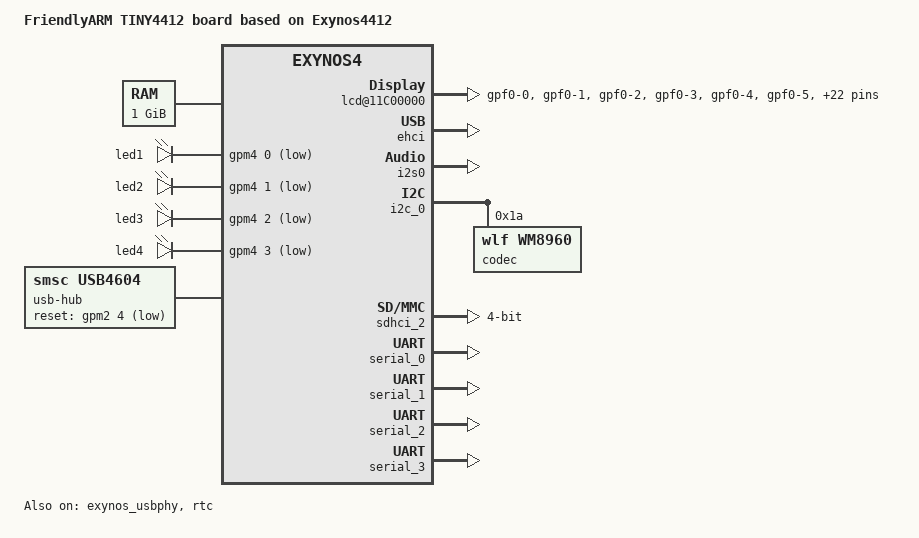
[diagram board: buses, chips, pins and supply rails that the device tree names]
/*
 * FriendlyARM's Exynos4412 based TINY4412 board device tree source
 *
 * Copyright (c) 2013 Alex Ling <kasimling@gmail.com>
 *
 * Device tree source file for FriendlyARM's TINY4412 board which is based on
 * Samsung's Exynos4412 SoC.
 *
 * This program is free software; you can redistribute it and/or modify
 * it under the terms of the GNU General Public License version 2 as
 * published by the Free Software Foundation.
*/

/dts-v1/;
#include "exynos4412.dtsi"
#include <dt-bindings/sound/samsung-i2s.h>
#include <dt-bindings/gpio/gpio.h>

/ {
	model = "FriendlyARM TINY4412 board based on Exynos4412";
	compatible = "friendlyarm,tiny4412", "samsung,exynos4412", "samsung,exynos4";

	chosen {
		stdout-path = &serial_0;
	};

	memory@40000000 {
		device_type = "memory";
		reg = <0x40000000 0x40000000>;
	};

	leds {
		compatible = "gpio-leds";

		led1 {
			label = "led1";
			gpios = <&gpm4 0 GPIO_ACTIVE_LOW>;
			default-state = "off";
			linux,default-trigger = "heartbeat";
		};

		led2 {
			label = "led2";
			gpios = <&gpm4 1 GPIO_ACTIVE_LOW>;
			default-state = "off";
		};

		led3 {
			label = "led3";
			gpios = <&gpm4 2 GPIO_ACTIVE_LOW>;
			default-state = "off";
		};

		led4 {
			label = "led4";
			gpios = <&gpm4 3 GPIO_ACTIVE_LOW>;
			default-state = "off";
			linux,default-trigger = "mmc0";
		};
	};

	lcd@11C00000 {
		compatible = "tiny4412,lcd";
		reg = <0x11C00000  0x20c0 0x10010210 0x08 0x10023c80 0x04 0x1003c000 0x1000>;
		pinctrl-names = "default";
		pinctrl-0 = <&lcd>;
		clocks = <&clock CLK_FIMD0 &clock CLK_ACLK160>;
		clock-names = "fimd0","aclk160";
	};

	fixed-rate-clocks {
		xxti {
			compatible = "samsung,clock-xxti";
			clock-frequency = <0>;
		};

		xusbxti {
			compatible = "samsung,clock-xusbxti";
			clock-frequency = <24000000>;
		};
	};

	sound { 
		compatible = "simple-audio-card";
		simple-audio-card,name = "wm-sound";

		simple-audio-card,format = "i2s";
		simple-audio-card,bitclock-master = <&link0_codec>;
		simple-audio-card,frame-master = <&link0_codec>;

		simple-audio-card,widgets =
			"Microphone", "Mic Jack",
			"Line", "Line In",
			"Line", "Line Out",
			"Speaker", "Speaker",
			"Headphone", "Headphone Jack";

		simple-audio-card,routing =
			"Headphone Jack", "HP_L",
			"Headphone Jack", "HP_R",
			"Speaker", "SPK_LP",
			"Speaker", "SPK_LN",
			"Speaker", "SPK_RP",
			"Speaker", "SPK_RN",
			"LINPUT1", "Mic Jack",
			"LINPUT3", "Mic Jack",
			"RINPUT1", "Mic Jack",
			"RINPUT2", "Mic Jack";

		simple-audio-card,cpu {
			sound-dai = <&i2s0 0>;	
		};

		link0_codec: simple-audio-card,codec {
			sound-dai = <&codec>;
			clocks = <&i2s0 CLK_I2S_CDCLK>;
			system-clock-frequency = <11289600>;
		};

	};
	
	usb-hub {
		compatible = "smsc,usb4604";
		reset-gpios = <&gpm2 4 GPIO_ACTIVE_LOW>;
		initial-mode = <1>;
		status = "okay";
	};

	backlight@139D0000{
		compatible = "tiny4412,backlight";
		reg = <0x139D0000  0x14>;
		tiny4412,backlight = <&gpx1 2 GPIO_ACTIVE_HIGH>;
		pinctrl-names = "backlight_out","backlight_in";
		pinctrl-0 = <&backlight_out>;
		pinctrl-1 = <&backlight_in>;
		interrupts = <0 40 0>;
		clocks = <&clock CLK_PWM>;
		clock-names = "timers";
	};
};

&pinctrl_0 {
	lcd:lcd {
		samsung,pins = "gpf0-0", "gpf0-1", "gpf0-2", "gpf0-3", "gpf0-4",
			"gpf0-5", "gpf0-6","gpf0-7", "gpf1-0", "gpf1-1",
			"gpf1-2", "gpf1-3", "gpf1-4", "gpf1-5", "gpf1-6",
			"gpf1-7", "gpf2-0", "gpf2-1", "gpf2-2", "gpf2-3",
			"gpf2-4", "gpf2-5", "gpf2-6","gpf2-7", "gpf3-0",
			"gpf3-1", "gpf3-2", "gpf3-3";
		samsung,pin-function = <2>;
		samsung,pin-pud = <0>;
		samsung,pin-drv = <0>;
	};
};

&pinctrl_1 {
	backlight_out: backlight_out{
		samsung,pins = "gpx1-2";
		samsung,pin-function = <1>;
		samsung,pin-pud = <0>;
		samsung,pin-drv = <0>;	
	};
	backlight_in: backlight_in{
		samsung,pins = "gpx1-2";
		samsung,pin-function = <0>;
		samsung,pin-pud = <0>;
		samsung,pin-drv = <0>;
	};
};

&exynos_usbphy {
	status = "okay";
};

&ehci {
	status = "okay";
	port@0 {
		status = "okay";
	};
	port@1 {
		status = "okay";
	};
	port@2 {
		status = "okay";
	};
};

&rtc {
	status = "okay";
};

&i2s0 {
	pinctrl-0 = <&i2s0_bus>;
	pinctrl-names = "default";
	status = "okay";
};

&i2c_0 {
	samsung,i2c-sda-delay = <100>;
	samsung,i2c-slave-addr = <0x10>;
	samsung,i2c-max-bus-freq = <100000>;
	pinctrl-0 = <&i2c0_bus>;
	pinctrl-names = "default";
	status = "okay";

	codec: wm8960@1a {
		compatible = "wlf,wm8960";
		reg = <0x1a>;
		clocks = <&pmu_system_controller 0>;
		clock-names = "MCLK1";
		wlf,shared-lrclk;
		#sound-dai-cells = <0>;
	};
};

&sdhci_2 {
	bus-width = <4>;
	pinctrl-0 = <&sd2_clk &sd2_cmd &sd2_cd &sd2_bus4>;
	pinctrl-names = "default";
	status = "okay";
};

&serial_0 {
	status = "okay";
};

&serial_1 {
	status = "okay";
};

&serial_2 {
	status = "okay";
};

&serial_3 {
	status = "okay";
};
